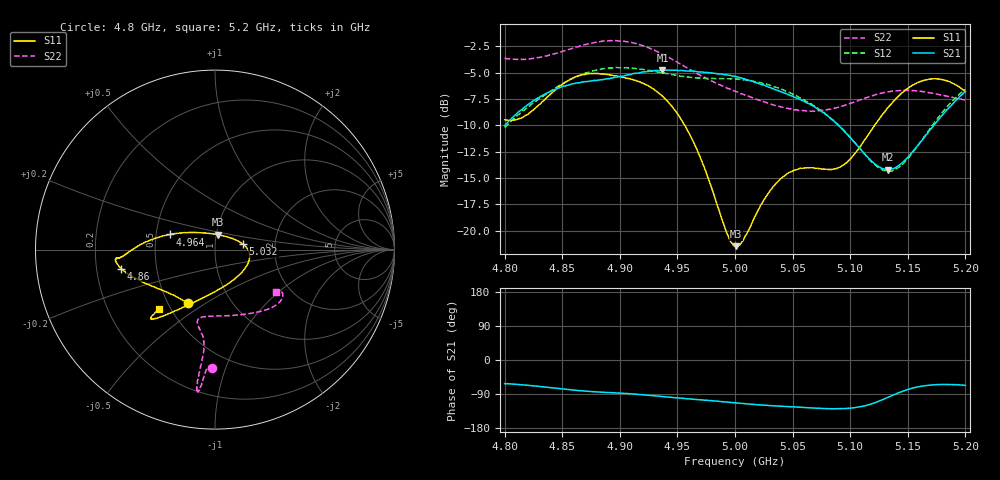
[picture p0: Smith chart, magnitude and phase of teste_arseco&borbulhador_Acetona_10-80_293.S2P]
! Network Analyzer HP8722D
! Hewlett-Packard
! Data name: Linha & Wilkinson
! Saver's name: Rodrigo Anjos
! Comments: Teste da utilização de aquisição
! continua pelo VNA HP8722D
! Time and date: 17/4/2025 16:48
!  Frequency  S11  S21  S12  S22
# HZ  S  MA R 50
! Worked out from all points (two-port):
!   401 points, 4.8 GHz to 5.2 GHz, reference 50 ohm
!   highest |S21| = -4.75 dB at 4.937 GHz (marker M1); lowest = -14.2 dB at 5.133 GHz (marker M2)
!   |S21| within 3 dB of the highest: 4.824 GHz to 5.06 GHz (236.6 MHz wide, 4.79 % of centre); 5.190664 GHz to end of sweep
!   lowest |S11| = -21.5 dB at 5.001 GHz (marker M3), VSWR 1.18, Z = 50.7 + j8.51 ohm
!   |S11| at or under -10 dB: 4.956 GHz to 5.121 GHz (164.8 MHz wide, 3.27 % of centre)
!   |S22| runs from -8.7 to -1.9 dB; largest |S21 - S12| = 0.87
!   S11 on the Smith chart (normalised r, x): 4.8 GHz: 0.63, -0.42; 4.86 GHz: 0.31, -0.09; 4.964 GHz: 0.59, +0.11; 5.032 GHz: 1.37, +0.09; 5.2 GHz: 0.43, -0.36
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4.8e9  0.3363 -116.9  0.3152 -62.4  0.3089 -176.6  0.6578 -91.5
4.818e9  0.3514 -136.1  0.3881 -66.2  0.3783 -176.1  0.6508 -93.0
4.86e9  0.533 -168.5  0.4995 -79.4  0.5319 -179.6  0.7374 -95.4
4.867e9  0.5489 -171.2  0.5079 -81.5  0.5522 179.3  0.7564 -95.6
4.898e9  0.5412 -175.1  0.5364 -87.2  0.5937 173.5  0.7979 -97.0
4.934e9  0.4496 179.1  0.5749 -95.7  0.566 170.1  0.7011 -97.4
4.937e9  0.4353 178.0  0.5789 -96.4  0.5613 170.1  0.6897 -97.2
4.964e9  0.2637 161.3  0.5711 -103.6  0.5339 171.9  0.5699 -96.3
4.993e9  0.09722 111.4  0.5501 -111.0  0.5272 174.1  0.4754 -98.8
5e9  0.08479 84.9  0.5402 -113.0  0.5265 174.2  0.4592 -100.1
5.001e9  0.08451 80.5  0.5387 -113.1  0.5249 174.3  0.4573 -100.4
5.006e9  0.0886 61.1  0.5288 -114.6  0.5224 174.2  0.447 -101.5
5.032e9  0.1586 11.2  0.4732 -120.7  0.4874 172.9  0.3969 -103.5
5.047e9  0.189 -3.0  0.441 -123.3  0.4539 172.4  0.3794 -99.5
5.067e9  0.1992 -24.3  0.3931 -126.5  0.3976 172.2  0.37 -88.4
5.096e9  0.2093 -74.7  0.2923 -128.1  0.2929 174.8  0.3951 -66.0
5.121e9  0.3149 -111.6  0.2083 -113.4  0.2066 -168.2  0.4404 -49.5
5.133e9  0.3853 -120.8  0.195 -98.2  0.1917 -151.4  0.4566 -43.7
5.134e9  0.3908 -121.5  0.1951 -96.6  0.1913 -149.8  0.457 -43.3
5.148e9  0.4656 -127.8  0.2175 -79.7  0.2139 -129.8  0.4641 -38.1
5.168e9  0.5231 -132.2  0.2946 -66.9  0.299 -113.1  0.4517 -33.4
5.2e9  0.4571 -133.3  0.4577 -66.9  0.469 -108.9  0.4166 -34.9
